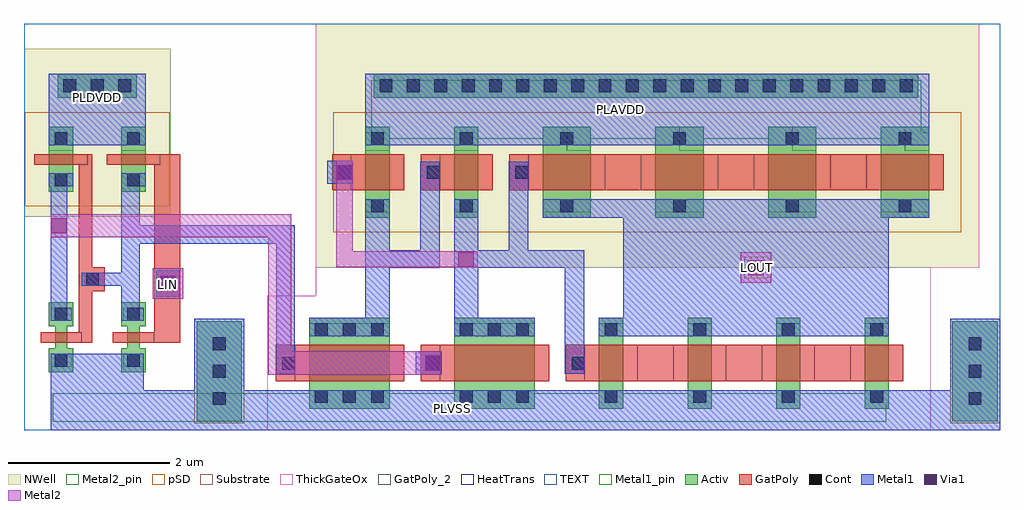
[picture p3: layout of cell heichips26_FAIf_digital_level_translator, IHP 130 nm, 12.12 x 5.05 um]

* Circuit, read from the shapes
.subckt heichips26_FAIf_digital_level_translator LIN LOUT PLAVDD PLDVDD PLVSS
XM1 n1 n2 PLVSS PLVSS sg13_lv_nmos w=0.15u l=0.13u
XM2 n2 LIN PLVSS PLVSS sg13_lv_nmos w=0.15u l=0.13u
XM3 n3 n2 PLVSS PLVSS sg13_hv_nmos w=1u l=0.45u
XM4 n4 n1 PLVSS PLVSS sg13_hv_nmos w=1u l=0.45u
XM5 LOUT n4 PLVSS PLVSS sg13_hv_nmos w=0.3u l=0.45u m=4
XM6 PLDVDD n2 n1 PLDVDD sg13_lv_pmos w=0.3u l=0.13u
XM7 PLDVDD LIN n2 PLDVDD sg13_lv_pmos w=0.3u l=0.13u
XM8 PLAVDD n4 n3 PLAVDD sg13_hv_pmos w=0.3u l=0.45u
XM9 PLAVDD n3 n4 PLAVDD sg13_hv_pmos w=0.3u l=0.45u
XM10 PLAVDD n4 LOUT PLAVDD sg13_hv_pmos w=0.6u l=0.45u m=4
.ends

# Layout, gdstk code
from math import pi, radians
import gdstk
lib = gdstk.Library(unit=1e-6, precision=1e-09)
def R(c, l, rs):  # rectangles x0, y0, x1, y1
    for r in rs: c.add(gdstk.rectangle(r[:2], r[2:], *l))
def A(c, l, x, y, w, h, nx, ny, dx, dy):  # array of equal rectangles
    R(c, l, [(x+i*dx, y+j*dy, x+i*dx+w, y+j*dy+h) for i in range(nx) for j in range(ny)])
Activ = (1, 0)
GatPoly = (5, 0)
GatPoly_2 = (5, 2)
Cont = (6, 0)
Metal1 = (8, 0)
Metal1_pin = (8, 2)
Metal2 = (10, 0)
Metal2_pin = (10, 2)
pSD = (14, 0)
Via1 = (19, 0)
NWell = (31, 0)
Substrate = (40, 0)
ThickGateOx = (44, 0)
HeatTrans = (51, 0)
TEXT = (63, 0)

heichips26_faif_lt_via_s = lib.new_cell('heichips26_FAIf_lt_via_stack_5')
R(heichips26_faif_lt_via_s, Activ, [(-3.38,-0.15,3.38,0.15)])
A(heichips26_faif_lt_via_s, Cont, -3.31, -0.08, 0.16, 0.16, 20, 1, 0.34, 0)
R(heichips26_faif_lt_via_s, Metal1, [(-3.36,-0.08,3.36,0.08)])

c_heichips26_faif_lt_via_s = lib.new_cell('heichips26_FAIf_lt_via_stack')
R(c_heichips26_faif_lt_via_s, Activ, [(-0.49,-0.15,0.49,0.15)])
A(c_heichips26_faif_lt_via_s, Cont, -0.42, -0.08, 0.16, 0.16, 3, 1, 0.34, 0)
R(c_heichips26_faif_lt_via_s, Metal1, [(-0.47,-0.08,0.47,0.08)])

heichips26_faif_lt_nmosh = lib.new_cell('heichips26_FAIf_lt_nmosHV_1')
R(heichips26_faif_lt_nmosh, Activ, [(0,0,0.3,0.3), (0,0,1.13,1), (0.83,0,1.13,0.3)])
R(heichips26_faif_lt_nmosh, GatPoly, [(0.34,-0.18,0.79,1.18)])
R(heichips26_faif_lt_nmosh, GatPoly_2, [(0.34,-0.18,0.79,1.18)])
A(heichips26_faif_lt_nmosh, Cont, 0.07, 0.07, 0.16, 0.16, 1, 3, 0, 0.35)
A(heichips26_faif_lt_nmosh, Cont, 0.9, 0.07, 0.16, 0.16, 1, 3, 0, 0.35)
R(heichips26_faif_lt_nmosh, Metal1, [(0.07,0,0.23,1), (0.9,0,1.06,1)])
R(heichips26_faif_lt_nmosh, Metal1_pin, [(0.07,0,0.23,1), (0.9,0,1.06,1)])
R(heichips26_faif_lt_nmosh, ThickGateOx, [(-0.27,-0.52,1.4,1.52)])
R(heichips26_faif_lt_nmosh, HeatTrans, [(0.34,-0.18,0.79,1.18)])
heichips26_faif_lt_nmosh.add(gdstk.Label('nmosHV', (0.565,0.5), layer=63, texttype=0))
heichips26_faif_lt_nmosh.add(gdstk.Label('nmosHV', (0.565,0.5), layer=51, texttype=0))

heichips26_faif_lt_pmosh = lib.new_cell('heichips26_FAIf_lt_pmosHV_1')
R(heichips26_faif_lt_pmosh, Activ, [(0,0,0.3,0.3), (0,0,1.13,0.3), (0.83,0,1.13,0.3)])
R(heichips26_faif_lt_pmosh, GatPoly, [(0.34,-0.18,0.79,0.48)])
R(heichips26_faif_lt_pmosh, GatPoly_2, [(0.34,-0.18,0.79,0.48)])
R(heichips26_faif_lt_pmosh, Cont, [(0.07,0.07,0.23,0.23), (0.9,0.07,1.06,0.23)])
R(heichips26_faif_lt_pmosh, Metal1, [(0.07,0,0.23,0.3), (0.9,0,1.06,0.3)])
R(heichips26_faif_lt_pmosh, Metal1_pin, [(0.07,0,0.23,0.3), (0.9,0,1.06,0.3)])
R(heichips26_faif_lt_pmosh, pSD, [(-0.18,-0.4,1.31,0.7)])
R(heichips26_faif_lt_pmosh, NWell, [(-0.62,-0.62,1.75,0.92)])
R(heichips26_faif_lt_pmosh, Substrate, [(0.83,0,1.13,0.3)])
R(heichips26_faif_lt_pmosh, ThickGateOx, [(-0.62,-0.62,1.75,0.92)])
R(heichips26_faif_lt_pmosh, HeatTrans, [(0.34,-0.18,0.79,0.48)])
heichips26_faif_lt_pmosh.add(gdstk.Label('pmosHV', (0.565,0.15), layer=63, texttype=0))
heichips26_faif_lt_pmosh.add(gdstk.Label('pmos', (0.565,0.15), layer=51, texttype=0))

c_heichips26_faif_lt_via_s_ = lib.new_cell('heichips26_FAIf_lt_via_stack_3')
R(c_heichips26_faif_lt_via_s_, GatPoly, [(-0.15,-0.15,0.15,0.15)])
R(c_heichips26_faif_lt_via_s_, Cont, [(-0.08,-0.08,0.08,0.08)])
R(c_heichips26_faif_lt_via_s_, Metal1, [(-0.145,-0.105,0.145,0.105)])
R(c_heichips26_faif_lt_via_s_, Metal2, [(-0.145,-0.1,0.145,0.1)])
R(c_heichips26_faif_lt_via_s_, Via1, [(-0.095,-0.095,0.095,0.095)])

c_heichips26_faif_lt_pmosh = lib.new_cell('heichips26_FAIf_lt_pmosHV')
R(c_heichips26_faif_lt_pmosh, Activ, [(0,0,0.3,0.3), (0,0,1.13,0.6), (0.83,0,1.13,0.3)])
R(c_heichips26_faif_lt_pmosh, GatPoly, [(0.34,-0.18,0.79,0.78)])
R(c_heichips26_faif_lt_pmosh, GatPoly_2, [(0.34,-0.18,0.79,0.78)])
R(c_heichips26_faif_lt_pmosh, Cont, [(0.07,0.22,0.23,0.38), (0.9,0.22,1.06,0.38)])
R(c_heichips26_faif_lt_pmosh, Metal1, [(0.07,0,0.23,0.6), (0.9,0,1.06,0.6)])
R(c_heichips26_faif_lt_pmosh, Metal1_pin, [(0.07,0,0.23,0.6), (0.9,0,1.06,0.6)])
R(c_heichips26_faif_lt_pmosh, pSD, [(-0.18,-0.4,1.31,1)])
R(c_heichips26_faif_lt_pmosh, NWell, [(-0.62,-0.62,1.75,1.22)])
R(c_heichips26_faif_lt_pmosh, Substrate, [(0.83,0,1.13,0.3)])
R(c_heichips26_faif_lt_pmosh, ThickGateOx, [(-0.62,-0.62,1.75,1.22)])
R(c_heichips26_faif_lt_pmosh, HeatTrans, [(0.34,-0.18,0.79,0.78)])
c_heichips26_faif_lt_pmosh.add(gdstk.Label('pmosHV', (0.565,0.3), layer=63, texttype=0))
c_heichips26_faif_lt_pmosh.add(gdstk.Label('pmos', (0.565,0.3), layer=51, texttype=0))

c_heichips26_faif_lt_nmosh = lib.new_cell('heichips26_FAIf_lt_nmosHV')
R(c_heichips26_faif_lt_nmosh, Activ, [(0,0,0.3,0.3), (0,0,1.13,0.3), (0.83,0,1.13,0.3)])
R(c_heichips26_faif_lt_nmosh, GatPoly, [(0.34,-0.18,0.79,0.48)])
R(c_heichips26_faif_lt_nmosh, GatPoly_2, [(0.34,-0.18,0.79,0.48)])
R(c_heichips26_faif_lt_nmosh, Cont, [(0.07,0.07,0.23,0.23), (0.9,0.07,1.06,0.23)])
R(c_heichips26_faif_lt_nmosh, Metal1, [(0.07,0,0.23,0.3), (0.9,0,1.06,0.3)])
R(c_heichips26_faif_lt_nmosh, Metal1_pin, [(0.07,0,0.23,0.3), (0.9,0,1.06,0.3)])
R(c_heichips26_faif_lt_nmosh, ThickGateOx, [(-0.27,-0.52,1.4,0.82)])
R(c_heichips26_faif_lt_nmosh, HeatTrans, [(0.34,-0.18,0.79,0.48)])
c_heichips26_faif_lt_nmosh.add(gdstk.Label('nmosHV', (0.565,0.15), layer=63, texttype=0))
c_heichips26_faif_lt_nmosh.add(gdstk.Label('nmosHV', (0.565,0.15), layer=51, texttype=0))

c_heichips26_faif_lt_via_s__ = lib.new_cell('heichips26_FAIf_lt_via_stack_1')
R(c_heichips26_faif_lt_via_s__, Metal1, [(-0.145,-0.105,0.145,0.105)])
R(c_heichips26_faif_lt_via_s__, Metal2, [(-0.145,-0.1,0.145,0.1)])
R(c_heichips26_faif_lt_via_s__, Via1, [(-0.095,-0.095,0.095,0.095)])

c_heichips26_faif_lt_via_s___ = lib.new_cell('heichips26_FAIf_lt_via_stack_4')
R(c_heichips26_faif_lt_via_s___, GatPoly, [(-0.15,-0.15,0.15,0.15)])
R(c_heichips26_faif_lt_via_s___, Cont, [(-0.08,-0.08,0.08,0.08)])
R(c_heichips26_faif_lt_via_s___, Metal1, [(-0.13,-0.08,0.13,0.08)])

heichips26_faif_lt_nmos = lib.new_cell('heichips26_FAIf_lt_nmos')
R(heichips26_faif_lt_nmos, Activ, [(0,0,0.3,0.3), (0.57,0,0.87,0.3), (0,0.075,0.87,0.225)])
R(heichips26_faif_lt_nmos, GatPoly, [(0.37,-0.105,0.5,0.405)])
R(heichips26_faif_lt_nmos, GatPoly_2, [(0.37,-0.105,0.5,0.405)])
R(heichips26_faif_lt_nmos, Cont, [(0.07,0.07,0.23,0.23), (0.64,0.07,0.8,0.23)])
R(heichips26_faif_lt_nmos, Metal1, [(0.07,0.02,0.23,0.28), (0.64,0.02,0.8,0.28)])
R(heichips26_faif_lt_nmos, Metal1_pin, [(0.07,0.02,0.23,0.28), (0.64,0.02,0.8,0.28)])
R(heichips26_faif_lt_nmos, HeatTrans, [(0.37,-0.105,0.5,0.405)])
heichips26_faif_lt_nmos.add(gdstk.Label('nmos', (0.435,0.15), layer=63, texttype=0))
heichips26_faif_lt_nmos.add(gdstk.Label('nmos', (0.435,0.15), layer=51, texttype=0))

heichips26_faif_lt_pmos_ = lib.new_cell('heichips26_FAIf_lt_pmos_1')
R(heichips26_faif_lt_pmos_, Activ, [(0,0,0.3,0.3), (0,0,0.81,0.3), (0.51,0,0.81,0.3)])
R(heichips26_faif_lt_pmos_, GatPoly, [(0.34,-0.18,0.47,0.48), (0.34,-0.18,0.47,0.48)])
R(heichips26_faif_lt_pmos_, Cont, [(0.07,0.07,0.23,0.23), (0.58,0.07,0.74,0.23)])
R(heichips26_faif_lt_pmos_, Metal1, [(0.07,0,0.23,0.3), (0.07,0,0.23,0.3), (0.58,0,0.74,0.3), (0.58,0,0.74,0.3)])
R(heichips26_faif_lt_pmos_, pSD, [(-0.18,-0.3,0.99,0.6)])
R(heichips26_faif_lt_pmos_, NWell, [(-0.31,-0.31,1.12,0.61)])
R(heichips26_faif_lt_pmos_, Substrate, [(0.51,0,0.81,0.3)])
R(heichips26_faif_lt_pmos_, HeatTrans, [(0.34,-0.18,0.47,0.48)])
heichips26_faif_lt_pmos_.add(gdstk.Label('pmos', (0.405,0.15), layer=63, texttype=0))
heichips26_faif_lt_pmos_.add(gdstk.Label('pmos', (0.405,0.15), layer=51, texttype=0))

heichips26_faif_digital_ = lib.new_cell('heichips26_FAIf_digital_level_translator')
R(heichips26_faif_digital_, Activ, [(4.03,0.825,4.59,2.065), (13.415,0.825,13.975,2.065)])
A(heichips26_faif_digital_, GatPoly, 5.01, 1.32, 0.235, 0.45, 3, 1, 1.8, 0)
A(heichips26_faif_digital_, GatPoly, 9.505, 1.32, 0.44, 0.45, 3, 1, 1.1, 0)
A(heichips26_faif_digital_, GatPoly, 5.71, 3.69, 0.235, 0.45, 3, 1, 1.1, 0)
A(heichips26_faif_digital_, GatPoly, 9.105, 3.69, 0.44, 0.45, 3, 1, 1.4, 0)
R(heichips26_faif_digital_, GatPoly, [(2.565,1.8,2.735,4.14), (3.5,1.8,3.825,4.14)])
A(heichips26_faif_digital_, Metal1, 9.025, 1.88, 1.4, 0.23, 3, 1, 1.1, 0)
R(heichips26_faif_digital_, Metal1, [(2.215,0.71,14.005,1.21), (2.215,0.79,3.375,1.66), (4,1.21,4.62,2.095), (13.385,1.21,14.005,2.095), (6.75,1.4,7.07,1.69), (5.015,1.415,5.245,3.025), (8.6,1.415,8.845,2.73), (5.425,1.88,6.425,2.11), (7.225,1.88,8.225,2.11), (6.125,2.04,6.425,3.42), (7.225,2.04,7.525,3.42), (2.215,2.07,2.425,3.9), (3.095,2.07,3.325,3.9), (9.325,2.11,12.625,3.35), (3.53,2.37,3.82,2.7), (2.865,2.505,3.095,2.665), (6.425,2.73,6.805,2.945), (6.805,2.73,7.045,4.045), (7.525,2.73,7.905,2.945), (7.905,2.73,8.145,4.045), (7.905,2.73,8.845,2.945), (3.325,3.025,5.245,3.255), (8.325,3.35,10.325,3.58), (10.325,3.35,13.125,3.58), (5.65,3.77,5.97,4.06), (2.195,4.25,3.395,5.14), (6.125,4.25,13.125,5.14)])
R(heichips26_faif_digital_, Metal1_pin, [(2.24,0.815,12.59,1.17), (2.195,4.25,3.395,5.14), (6.195,4.33,13.025,5.06)])
R(heichips26_faif_digital_, Metal2, [(3.485,2.345,3.865,2.725), (10.785,2.54,11.165,2.92)])
R(heichips26_faif_digital_, Metal2_pin, [(3.56,2.43,3.79,2.64), (10.83,2.6,11.125,2.865)])
R(heichips26_faif_digital_, pSD, [(4,0.795,4.62,2.095), (13.385,0.795,14.005,2.095)])
R(heichips26_faif_digital_, NWell, [(1.885,4.79,3.705,5.45), (5.505,5.1,13.745,5.76)])
R(heichips26_faif_digital_, ThickGateOx, [(5.505,2.38,10.945,2.73), (10.945,2.38,13.145,2.73), (5.505,5.1,13.745,5.76)])
R(heichips26_faif_digital_, TEXT, [(1.885,0.71,14.005,5.76)])
heichips26_faif_digital_.add(gdstk.FlexPath([(7.23,2.835),(5.865,2.835),(5.865,3.77)], 0.2, ends="flush", simple_path=True, layer=10, datatype=0))  # Metal2
heichips26_faif_digital_.add(gdstk.FlexPath([(2.42,3.25),(5.06,3.25),(5.06,2.13)], 0.29, ends="flush", simple_path=True, layer=10, datatype=0))  # Metal2
heichips26_faif_digital_.add(gdstk.FlexPath([(6.865,1.545),(5.06,1.545),(5.06,2.13)], 0.29, ends="flush", simple_path=True, layer=10, datatype=0))  # Metal2
heichips26_faif_digital_.add(gdstk.Reference(heichips26_faif_lt_via_s, (9.61,4.99), rotation=pi))
heichips26_faif_digital_.add(gdstk.Reference(c_heichips26_faif_lt_via_s, (13.695,1.445), rotation=pi/2))
heichips26_faif_digital_.add(gdstk.Reference(c_heichips26_faif_lt_via_s, (4.31,1.445), rotation=pi/2))
heichips26_faif_digital_.add(gdstk.Reference(c_heichips26_faif_lt_via_s, (2.795,4.99), rotation=pi))
heichips26_faif_digital_.add(gdstk.Reference(heichips26_faif_lt_nmosh, (6.425,0.98), rotation=pi/2))
heichips26_faif_digital_.add(gdstk.Reference(heichips26_faif_lt_nmosh, (8.225,0.98), rotation=pi/2))
heichips26_faif_digital_.add(gdstk.Reference(heichips26_faif_lt_pmosh, (7.525,3.35), rotation=pi/2))
heichips26_faif_digital_.add(gdstk.Reference(heichips26_faif_lt_pmosh, (6.425,3.35), rotation=pi/2))
heichips26_faif_digital_.add(gdstk.Reference(c_heichips26_faif_lt_via_s_, (6.965,1.545), rotation=pi/2))
heichips26_faif_digital_.add(gdstk.Reference(c_heichips26_faif_lt_via_s_, (5.865,3.915), rotation=pi/2))
heichips26_faif_digital_.add(gdstk.Reference(c_heichips26_faif_lt_via_s_, (3.675,2.535), rotation=pi))
heichips26_faif_digital_.add(gdstk.Reference(c_heichips26_faif_lt_pmosh, (8.925,3.35), rotation=pi/2))
heichips26_faif_digital_.add(gdstk.Reference(c_heichips26_faif_lt_pmosh, (11.725,3.35), rotation=pi/2))
heichips26_faif_digital_.add(gdstk.Reference(c_heichips26_faif_lt_pmosh, (13.125,3.35), rotation=pi/2))
heichips26_faif_digital_.add(gdstk.Reference(c_heichips26_faif_lt_pmosh, (10.325,3.35), rotation=pi/2))
heichips26_faif_digital_.add(gdstk.Reference(c_heichips26_faif_lt_nmosh, (10.425,0.98), rotation=pi/2))
heichips26_faif_digital_.add(gdstk.Reference(c_heichips26_faif_lt_nmosh, (11.525,0.98), rotation=pi/2))
heichips26_faif_digital_.add(gdstk.Reference(c_heichips26_faif_lt_nmosh, (12.625,0.98), rotation=pi/2))
heichips26_faif_digital_.add(gdstk.Reference(c_heichips26_faif_lt_nmosh, (9.325,0.98), rotation=pi/2))
heichips26_faif_digital_.add(gdstk.Reference(c_heichips26_faif_lt_via_s__, (2.32,3.25), rotation=pi/2))
heichips26_faif_digital_.add(gdstk.Reference(c_heichips26_faif_lt_via_s__, (7.375,2.835), rotation=pi))
heichips26_faif_digital_.add(gdstk.Reference(c_heichips26_faif_lt_via_s__, (10.975,2.73), rotation=pi))
heichips26_faif_digital_.add(gdstk.Reference(c_heichips26_faif_lt_via_s___, (8.765,1.545), rotation=pi/2))
heichips26_faif_digital_.add(gdstk.Reference(c_heichips26_faif_lt_via_s___, (5.165,1.545), rotation=pi/2))
heichips26_faif_digital_.add(gdstk.Reference(c_heichips26_faif_lt_via_s___, (6.965,3.915), rotation=pi/2))
heichips26_faif_digital_.add(gdstk.Reference(c_heichips26_faif_lt_via_s___, (8.065,3.915), rotation=pi/2))
heichips26_faif_digital_.add(gdstk.Reference(c_heichips26_faif_lt_via_s___, (2.735,2.585), rotation=pi))
heichips26_faif_digital_.add(gdstk.Reference(heichips26_faif_lt_nmos, (2.495,1.43), rotation=pi/2))
heichips26_faif_digital_.add(gdstk.Reference(heichips26_faif_lt_nmos, (3.395,1.43), rotation=pi/2))
heichips26_faif_digital_.add(gdstk.Reference(heichips26_faif_lt_pmos_, (2.495,3.67), rotation=pi/2))
heichips26_faif_digital_.add(gdstk.Reference(heichips26_faif_lt_pmos_, (3.395,3.67), rotation=pi/2))
heichips26_faif_digital_.add(gdstk.Label('LOUT', (10.975,2.73), layer=10, texttype=25))
heichips26_faif_digital_.add(gdstk.Label('LIN', (3.67,2.525), layer=10, texttype=25))
heichips26_faif_digital_.add(gdstk.Label('PLAVDD', (9.29,4.695), layer=8, texttype=25))
heichips26_faif_digital_.add(gdstk.Label('PLVSS', (7.2,0.98), layer=8, texttype=25))
heichips26_faif_digital_.add(gdstk.Label('PLDVDD', (2.795,4.84), layer=8, texttype=25))

lib.write_gds('heichips26_FAIf_digital_level_translator.gds')
